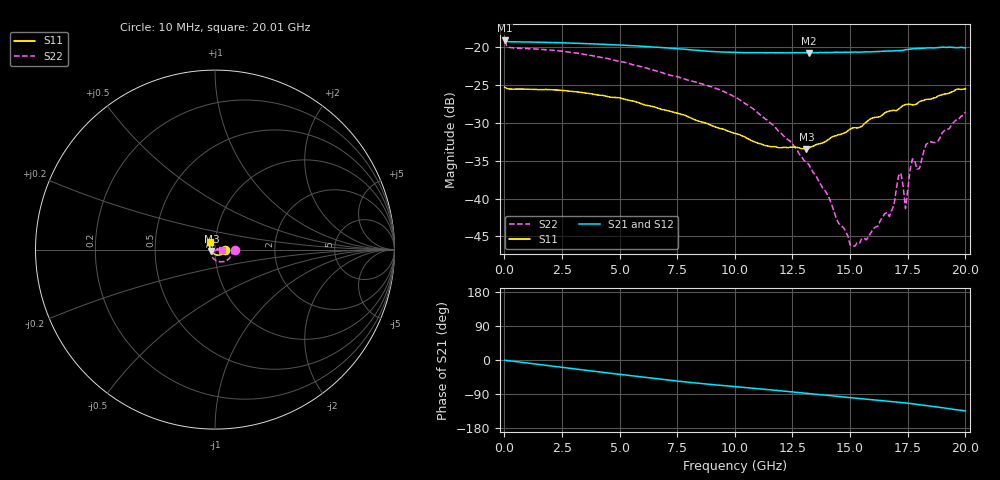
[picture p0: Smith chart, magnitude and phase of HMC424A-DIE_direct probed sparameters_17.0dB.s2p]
!s2p File: Measurements: S11, S21, S12, S22
# GHz S dB R 50.0
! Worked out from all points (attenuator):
!   201 points, 10 MHz to 20.01 GHz, reference 50 ohm
!   highest |S21| = -19.12 dB at 10 MHz (marker M1); lowest = -20.8 dB at 13.21 GHz (marker M2)
!   lowest |S11| = -33.5 dB at 13.11 GHz (marker M3), VSWR 1.04, Z = 48.1 - j0.753 ohm
!   |S11| at or under -10 dB: start of sweep to end of sweep
!   |S22| runs from -46.3 to -19.1 dB; largest |S21 - S12| = 0.00097
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0.01  -25.29 -0.2  -19.12 -0.3  -19.12 -0.3  -19.15 -1.8
3.41  -26.02 -23.8  -19.52 -26.2  -19.52 -26.2  -20.93 -39.7
6.71  -28.10 -51.3  -20.03 -50.1  -20.03 -50.1  -23.24 -73.4
10.01  -31.39 -91.4  -20.70 -70.1  -20.71 -70.0  -26.58 -105.1
11.71  -33.13 -125.1  -20.73 -79.6  -20.75 -79.6  -30.41 -121.0
13.11  -33.45 -158.4  -20.74 -88.0  -20.73 -87.9  -35.21 -124.3
13.21  -33.39 -160.1  -20.77 -88.5  -20.77 -88.3  -35.46 -124.7
13.41  -33.07 -165.6  -20.73 -89.5  -20.74 -89.5  -36.59 -124.9
14.01  -32.32 -177.7  -20.71 -93.3  -20.70 -93.2  -39.39 -120.3
15.01  -30.82 165.3  -20.67 -99.2  -20.67 -99.1  -46.15 -89.2
15.71  -29.89 154.5  -20.61 -103.4  -20.62 -103.3  -45.45 -42.3
16.51  -28.67 143.8  -20.53 -108.2  -20.51 -108.0  -41.99 -15.8
16.71  -28.45 140.9  -20.50 -109.3  -20.48 -109.3  -42.38 -9.4
16.91  -28.36 138.4  -20.50 -110.4  -20.44 -110.4  -40.89 7.5
17.11  -28.19 139.1  -20.47 -111.7  -20.40 -111.8  -36.97 4.0
17.21  -27.93 138.7  -20.44 -112.2  -20.39 -112.5  -36.64 -11.9
17.41  -27.59 135.8  -20.33 -113.3  -20.36 -113.7  -41.31 -4.6
17.71  -27.64 132.0  -20.22 -115.6  -20.26 -115.8  -34.77 7.2
18.01  -27.20 130.6  -20.18 -118.1  -20.22 -117.9  -36.05 9.2
18.31  -26.89 127.0  -20.11 -120.4  -20.14 -120.3  -32.83 11.6
18.81  -26.47 126.3  -20.05 -124.3  -20.08 -124.0  -32.46 6.6
20.01  -25.50 124.0  -20.11 -134.4  -20.09 -134.4  -28.56 0.6
